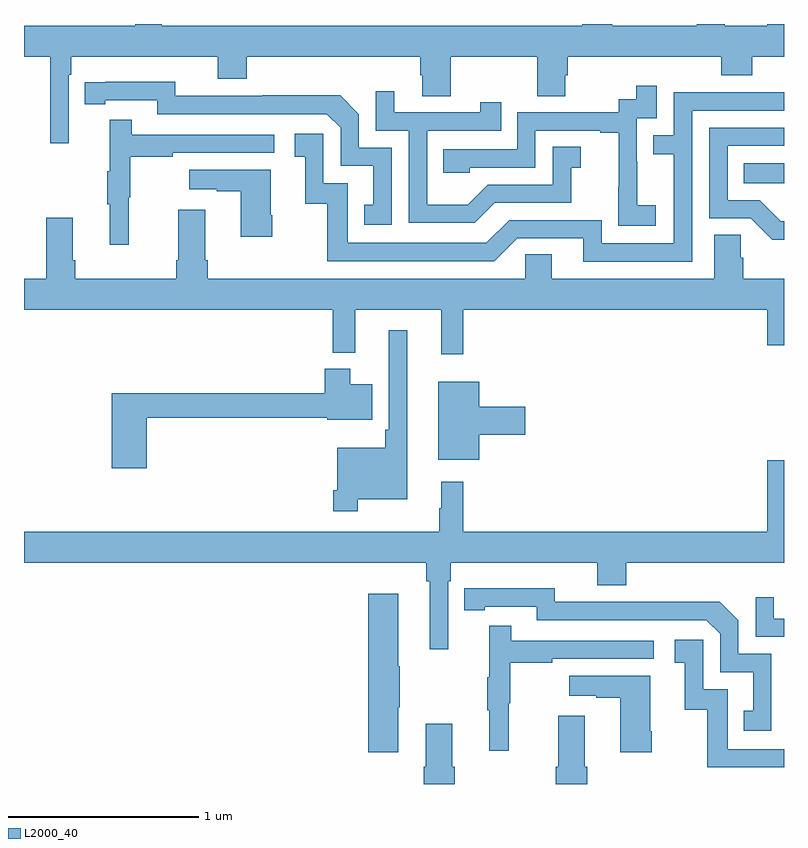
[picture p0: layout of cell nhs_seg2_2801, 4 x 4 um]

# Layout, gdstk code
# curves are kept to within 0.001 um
import gdstk
lib = gdstk.Library(unit=1e-6, precision=1e-09)
def R(c, l, rs):  # rectangles x0, y0, x1, y1
    for r in rs: c.add(gdstk.rectangle(r[:2], r[2:], *l))
def P(c, l, *ps):  # polygons
    for p in ps: c.add(gdstk.Polygon(p, *l))
L2000_40 = (2000, 40)

nhs_seg2_2801 = lib.new_cell('nhs_seg2_2801')
R(nhs_seg2_2801, L2000_40, [(260.788,654.962,261,655.066)])
P(nhs_seg2_2801, L2000_40, [(257.235,655.532),(257.249,655.532),(257.249,655.628),(258.02,655.628),(258.02,655.511),(258.173,655.511),(258.173,655.628),(259.085,655.628),(259.085,655.53),(259.097,655.53),(259.097,655.42),(259.245,655.42),(259.245,655.628),(259.702,655.628),(259.702,655.42),(259.849,655.42),(259.849,655.53),(259.862,655.53),(259.862,655.628),(260.669,655.628),(260.669,655.529),(260.834,655.529),(260.834,655.628),(261,655.628),(261,655.8),(260.912,655.8),(260.912,655.792),(260.689,655.792),(260.689,655.8),(260.541,655.8),(260.541,655.792),(260.097,655.792),(260.097,655.8),(259.937,655.8),(259.937,655.792),(257.725,655.792),(257.725,655.8),(257.585,655.8),(257.585,655.792),(257,655.792),(257,655.628),(257.138,655.628),(257.138,655.173),(257.235,655.173)],
  [(258.936,655.149),(258.762,655.149),(258.762,655.326),(258.664,655.424),(258.256,655.424),(258.256,655.422),(257.796,655.422),(257.796,655.495),(257.32,655.494),(257.32,655.378),(257.428,655.378),(257.428,655.398),(257.7,655.398),(257.7,655.326),(258.594,655.326),(258.666,655.254),(258.666,655.053),(258.839,655.053),(258.839,654.849),(258.79,654.849),(258.79,654.744),(258.936,654.744)],
  [(260.326,654.847),(260.228,654.847),(260.228,655.076),(260.226,655.076),(260.226,655.305),(260.331,655.305),(260.331,655.474),(260.223,655.474),(260.223,655.404),(260.13,655.404),(260.13,655.335),(259.596,655.335),(259.596,655.14),(259.207,655.14),(259.207,655.017),(259.347,655.017),(259.347,655.044),(259.692,655.044),(259.692,655.239),(260.033,655.239),(260.033,655.227),(260.129,655.227),(260.129,654.943),(260.128,654.943),(260.128,654.737),(260.326,654.737)],
  [(259.477,654.858),(259.881,654.858),(259.881,655.043),(259.93,655.043),(259.93,655.153),(259.782,655.153),(259.782,654.954),(259.44,654.954),(259.336,654.85),(259.122,654.85),(259.122,655.239),(259.511,655.239),(259.511,655.387),(259.4,655.387),(259.4,655.335),(258.949,655.335),(258.949,655.447),(258.852,655.447),(258.852,655.239),(259.026,655.239),(259.026,654.753),(259.372,654.753)],
  [(260.517,655.344),(261,655.344),(261,655.442),(260.917,655.442),(260.917,655.44),(260.421,655.44),(260.421,655.215),(260.311,655.215),(260.311,655.114),(260.421,655.114),(260.421,654.645),(260.04,654.645),(260.04,654.768),(259.554,654.768),(259.434,654.648),(258.705,654.648),(258.705,654.963),(258.576,654.963),(258.576,655.222),(258.426,655.222),(258.426,655.101),(258.479,655.101),(258.479,654.855),(258.597,654.855),(258.597,654.552),(259.476,654.552),(259.596,654.672),(259.943,654.672),(259.943,654.549),(260.517,654.549)],
  [(257.552,654.888),(257.56,654.888),(257.56,655.102),(257.783,655.102),(257.783,655.122),(258.316,655.122),(258.316,655.218),(257.567,655.218),(257.567,655.297),(257.45,655.297),(257.45,655.025),(257.439,655.025),(257.439,654.851),(257.45,654.851),(257.45,654.639),(257.552,654.639)],
  [(261,654.762),(260.983,654.762),(260.872,654.873),(260.703,654.873),(260.703,655.158),(261,655.158),(261,655.254),(260.607,655.254),(260.607,654.777),(260.826,654.777),(260.939,654.665),(261,654.665)],
  [(258.306,654.793),(258.298,654.793),(258.298,655.033),(257.871,655.033),(257.871,654.929),(258.014,654.929),(258.014,654.919),(258.14,654.919),(258.14,654.681),(258.306,654.681)],
  [(259.313,654.296),(260.912,654.296),(260.912,654.108),(261,654.108),(261,654.46),(260.786,654.46),(260.786,654.569),(260.772,654.569),(260.772,654.692),(260.633,654.692),(260.633,654.46),(259.777,654.46),(259.777,654.587),(259.638,654.587),(259.638,654.46),(257.966,654.46),(257.966,654.556),(257.953,654.556),(257.953,654.823),(257.813,654.823),(257.813,654.556),(257.801,654.556),(257.801,654.46),(257.27,654.46),(257.27,654.556),(257.257,654.556),(257.257,654.781),(257.117,654.781),(257.117,654.46),(257,654.46),(257,654.296),(258.625,654.296),(258.625,654.071),(258.743,654.071),(258.743,654.296),(259.196,654.296),(259.196,654.063),(259.313,654.063)],
  [(258.757,653.3),(259.018,653.3),(259.018,654.187),(258.921,654.187),(258.921,653.665),(258.901,653.665),(258.901,653.569),(258.648,653.569),(258.648,653.347),(258.628,653.347),(258.628,653.235),(258.757,653.235)],
  [(257.645,653.728),(258.596,653.728),(258.596,653.717),(258.832,653.717),(258.832,653.905),(258.718,653.905),(258.718,653.986),(258.584,653.986),(258.584,653.857),(257.462,653.857),(257.462,653.463),(257.645,653.463)],
  [(259.396,653.639),(259.639,653.639),(259.639,653.786),(259.396,653.786),(259.396,653.917),(259.181,653.917),(259.181,653.507),(259.396,653.507)],
  [(259.233,652.868),(259.247,652.868),(259.247,652.964),(260.018,652.964),(260.018,652.847),(260.171,652.847),(260.171,652.964),(261,652.964),(261,653.503),(260.912,653.503),(260.912,653.128),(259.313,653.128),(259.313,653.392),(259.196,653.392),(259.196,653.252),(259.185,653.252),(259.185,653.128),(257,653.128),(257,652.964),(259.117,652.964),(259.117,652.868),(259.136,652.868),(259.136,652.509),(259.233,652.509)],
  [(260.934,652.485),(260.76,652.485),(260.76,652.662),(260.662,652.76),(260.254,652.76),(260.254,652.758),(259.794,652.758),(259.794,652.831),(259.318,652.83),(259.318,652.714),(259.426,652.714),(259.426,652.734),(259.698,652.734),(259.698,652.662),(260.592,652.662),(260.664,652.59),(260.664,652.389),(260.837,652.389),(260.837,652.185),(260.788,652.185),(260.788,652.08),(260.934,652.08)],
  [(258.97,652.204),(258.978,652.204),(258.978,652.421),(258.97,652.421),(258.97,652.801),(258.812,652.801),(258.812,651.966),(258.97,651.966)],
  [(261,652.671),(260.947,652.671),(260.947,652.783),(260.85,652.783),(260.85,652.575),(261,652.575)],
  [(259.55,652.224),(259.558,652.224),(259.558,652.438),(259.781,652.438),(259.781,652.458),(260.314,652.458),(260.314,652.554),(259.565,652.554),(259.565,652.633),(259.448,652.633),(259.448,652.361),(259.437,652.361),(259.437,652.187),(259.448,652.187),(259.448,651.975),(259.55,651.975)],
  [(261,651.984),(260.703,651.984),(260.703,652.299),(260.574,652.299),(260.574,652.558),(260.424,652.558),(260.424,652.437),(260.477,652.437),(260.477,652.191),(260.595,652.191),(260.595,651.888),(261,651.888)],
  [(260.304,652.078),(260.296,652.078),(260.296,652.369),(259.869,652.369),(259.869,652.265),(260.012,652.265),(260.012,652.255),(260.138,652.255),(260.138,651.966),(260.304,651.966)],
  [(259.964,651.892),(259.951,651.892),(259.951,652.159),(259.811,652.159),(259.811,651.892),(259.799,651.892),(259.799,651.8),(259.964,651.8)],
  [(259.267,651.892),(259.255,651.892),(259.255,652.117),(259.115,652.117),(259.115,651.892),(259.103,651.892),(259.103,651.8),(259.267,651.8)])

lib.write_gds('nhs_seg2_2801.gds')
